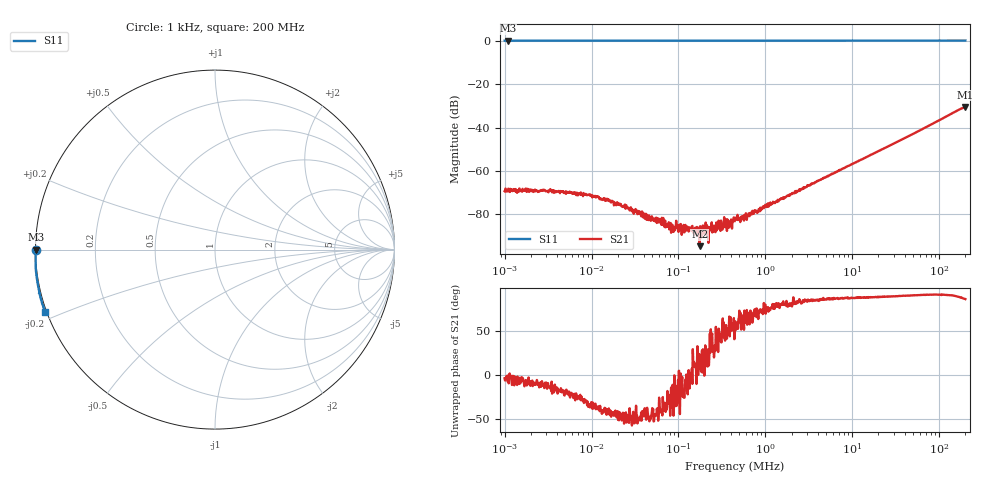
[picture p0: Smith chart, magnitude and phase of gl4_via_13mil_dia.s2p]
! ListType=Log
# MHZ S RI R 50
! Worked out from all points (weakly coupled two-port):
!   1000 points, 1 kHz to 200 MHz, reference 50 ohm
!   highest |S21| = -30.52 dB at 200 MHz (marker M1); lowest = -94.6 dB at 175.6 kHz (marker M2)
!   lowest |S11| = 0.0 dB at 1.089 kHz (marker M3)
!   |S11| at or under -10 dB: nowhere
!   S12 and S22 are empty: the file has one direction only
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0.001  -0.9988 0.000179  0.000343 -2.31e-05  0 0  0 0
0.0010893  -0.9985 0.000234  0.000336 -4.65e-05  0 0  0 0
0.0034351  -0.999 -9.08e-05  0.000342 -0.000113  0 0  0 0
0.0076941  -0.9989 0.000113  0.000273 -0.000125  0 0  0 0
0.0094703  -0.9989 4.99e-05  0.000233 -0.000163  0 0  0 0
0.0148833  -0.9989 0.000121  0.000147 -0.000149  0 0  0 0
0.0190032  -0.9988 0.000233  0.000121 -0.000126  0 0  0 0
0.0254788  -0.9987 0.000173  9.4e-05 -0.000111  0 0  0 0
0.0321366  -0.9988 6.99e-05  9.48e-05 -9.33e-05  0 0  0 0
0.0390752  -0.9988 7.09e-05  6.32e-05 -5.84e-05  0 0  0 0
0.0584804  -0.9987 -3.99e-05  4.42e-05 -5.7e-05  0 0  0 0
0.1756225  -0.9988 -0.000307  1.82e-05 3.9e-06  0 0  0 0
0.4499541  -0.9989 -0.000945  3.87e-05 7.09e-05  0 0  0 0
0.6571501  -0.9988 -0.00131  4.85e-05 7.72e-05  0 0  0 0
0.7797463  -0.9987 -0.00155  3.03e-05 0.000118  0 0  0 0
1.007828  -0.9988 -0.00192  5.27e-05 0.000145  0 0  0 0
1.334849  -0.9989 -0.00253  2.72e-05 0.000198  0 0  0 0
3.419952  -0.9991 -0.00642  3.4e-05 0.000499  0 0  0 0
26.31347  -0.9999 -0.0461  3.24e-05 0.00376  0 0  0 0
82.98007  -0.9949 -0.1428  -0.000357 0.0121  0 0  0 0
124.1889  -0.983 -0.2158  -0.000433 0.0186  0 0  0 0
200  -0.9461 -0.3465  0.00173 0.0297  0 0  0 0
